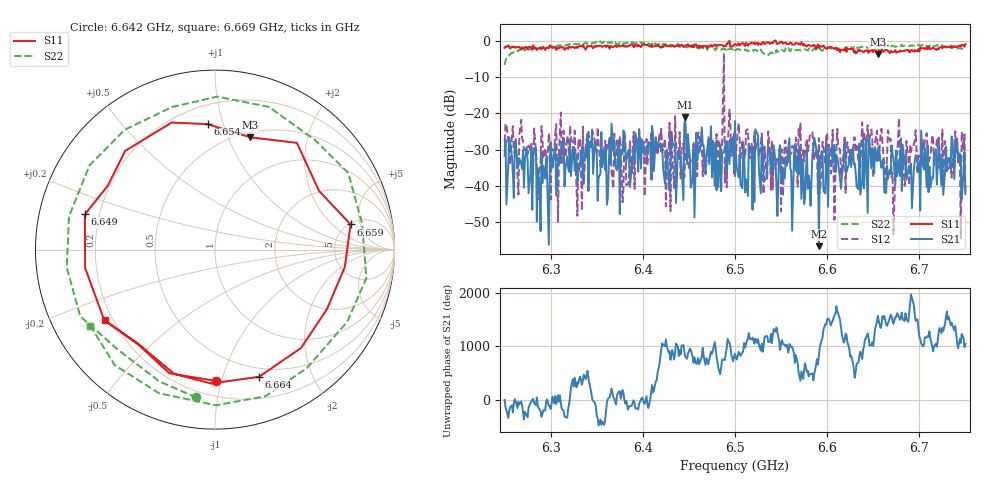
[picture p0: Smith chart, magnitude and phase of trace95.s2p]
# Hz S RI R 50
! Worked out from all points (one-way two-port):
!   401 points, 6.25 GHz to 6.75 GHz, reference 50 ohm
!   highest |S21| = -21.09 dB at 6.446 GHz (marker M1); lowest = -56.5 dB at 6.591 GHz (marker M2)
!   lowest |S11| = -3.7 dB at 6.655 GHz (marker M3), VSWR 4.81, Z = 27.5 + j60.4 ohm
!   |S11| at or under -10 dB: nowhere
!   |S22| runs from -6.6 to -0.1 dB; largest |S21 - S12| = 0.67
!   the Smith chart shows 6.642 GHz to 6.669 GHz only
!   S11 on the Smith chart (normalised r, x): 6.642 GHz: 0.30, -0.96; 6.649 GHz: 0.14, +0.13; 6.654 GHz: 0.32, +0.89; 6.659 GHz: 5.15, +3.53; 6.664 GHz: 0.41, -1.32; 6.669 GHz: 0.17, -0.29
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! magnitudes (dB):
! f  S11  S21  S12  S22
! 6.25 GHz  -2.0  -31.7  -27.8  -6.6
! 6.288 GHz  -2.1  -40.1  -35.4  -1.9
! 6.302 GHz  -2.0  -34.9  -30.1  -1.5
! 6.334 GHz  -1.6  -29.3  -46.8  -0.8
! 6.418 GHz  -1.5  -29.2  -25.4  -1.0
! 6.428 GHz  -1.4  -38.4  -30.6  -1.2
! 6.446 GHz  -1.3  -21.1  -32.2  -1.7
! 6.454 GHz  -1.2  -38.3  -33.3  -1.7
! 6.462 GHz  -1.6  -30.2  -29.3  -2.0
! 6.5 GHz  -0.9  -22.1  -37.3  -2.5
! 6.584 GHz  -1.4  -31.3  -25.1  -2.6
! 6.591 GHz  -1.9  -56.5  -26.8  -2.4
! 6.642 GHz  -2.7  -27.6  -29.4  -1.6
! 6.649 GHz  -2.5  -29.4  -27.2  -1.6
! 6.654 GHz  -3.1  -33.1  -24.7  -1.4
! 6.655 GHz  -3.7  -29.9  -30.1  -1.4
! 6.659 GHz  -2.3  -35.0  -24.2  -1.6
! 6.664 GHz  -2.5  -41.9  -40.1  -1.3
! 6.668 GHz  -3.4  -35.5  -27.5  -1.4
! 6.669 GHz  -2.7  -36.7  -27.1  -1.8
! 6.741 GHz  -1.8  -26.9  -27.1  -2.1
! 6.75 GHz  -0.9  -42.2  -42.1  -2.1
